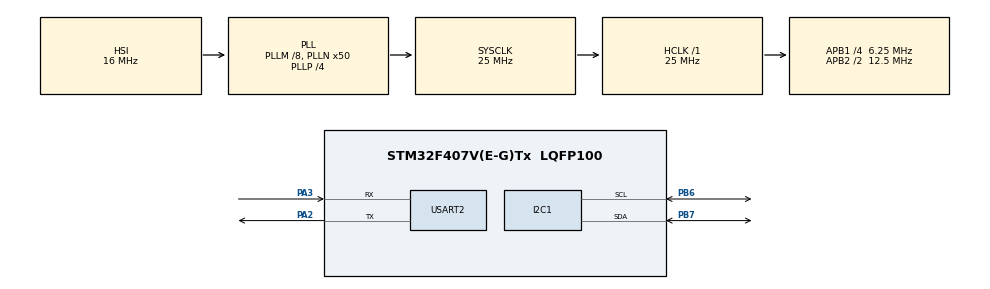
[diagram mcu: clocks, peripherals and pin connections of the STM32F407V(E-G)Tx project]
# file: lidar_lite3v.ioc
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Mcu.Family=STM32F4
Mcu.Name=STM32F407V(E-G)Tx
Mcu.Package=LQFP100
NVIC.PriorityGroup=NVIC_PRIORITYGROUP_0
PA2.Mode=Asynchronous
PA2.Signal=USART2_TX
PA3.Mode=Asynchronous
PA3.Signal=USART2_RX
PB6.Mode=I2C
PB6.Signal=I2C1_SCL
PB7.Mode=I2C
PB7.Signal=I2C1_SDA
PH0-OSC_IN.Mode=HSE-External-Oscillator
PH0-OSC_IN.Signal=RCC_OSC_IN
PH1-OSC_OUT.Mode=HSE-External-Oscillator
PH1-OSC_OUT.Signal=RCC_OSC_OUT
ProjectManager.HeapSize=0x200
ProjectManager.StackSize=0x400
ProjectManager.TargetToolchain=SW4STM32
RCC.48MHZClocksFreq_Value=14285714.285714285
RCC.AHBFreq_Value=25000000
RCC.APB1CLKDivider=RCC_HCLK_DIV4
RCC.APB1Freq_Value=6250000
RCC.APB1TimFreq_Value=12500000
RCC.APB2CLKDivider=RCC_HCLK_DIV2
RCC.APB2Freq_Value=12500000
RCC.APB2TimFreq_Value=25000000
RCC.CortexFreq_Value=25000000
RCC.HCLKFreq_Value=25000000
RCC.HSE_VALUE=8000000
RCC.HSI_VALUE=16000000
RCC.LSE_VALUE=32768
RCC.PLLM=8
RCC.PLLN=50
RCC.PLLP=RCC_PLLP_DIV4
RCC.PLLQ=7
RCC.SYSCLKFreq_VALUE=25000000
RCC.SYSCLKSource=RCC_SYSCLKSOURCE_PLLCLK
RCC.VCOOutputFreq_Value=100000000
USART2.VirtualMode=VM_ASYNC
board=STM32F4DISCOVERY

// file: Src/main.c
/* USER CODE BEGIN Header */
/**
 ******************************************************************************
 * @file           : main.c
 * @brief          : Main program body
 ******************************************************************************
 *  LIDAR LITE VER 3 WITH STM32F407 DISCOVERY
 *  It should work on STM32F407 and all other STM32Fxxx devices
 *
 *  @author     jagadish  jadhav
 *  @email      jagadish.etc@gmail.com
 *  @ide        System Workbence (eclipse)
 *

`* PIN DESCIPTION
 * i uesd the i2c1 interface of stm32 to communicate with lidar & uart 2 to send distace to monitor/screen
 * we can we any other i2c and uart. we just need to change respective handle type def.
 * CONNECTION:
 * 			STM32F407						LIDAR LITR V3
 * 				VCC								VCC
 * 				GND								GND
 * 			I2C1-PB6(SCL)						SCL
 * 			I2C1-PBA(SDA)						SDA
 * 				PA2-TX
 * 				PA3-RX
 ******************************************************************************
 */
/* USER CODE END Header */

#include "main.h"

/* USER CODE BEGIN PTD */
#define LIDAR_ADD 0x62<<1										// i2c slave address of lidar lite

uint32_t m_distance,object_distance;							// define the variable to get distance value
uint8_t cmd[1];
uint8_t data[2]={10};
char str[100];
/* USER CODE END PTD */
I2C_HandleTypeDef hi2c1;									// handle type def for i2c1

UART_HandleTypeDef huart2;									// handle type def for uart2

void SystemClock_Config(void);
static void MX_GPIO_Init(void);
static void MX_I2C1_Init(void);
static void MX_USART2_UART_Init(void);
int main(void)
{

	/* MCU Configuration--------------------------------------------------------*/

	/* Reset of all peripherals, Initializes the Flash interface and the Systick. */
	HAL_Init();

	/* Configure the system clock */
	SystemClock_Config();

	/* Initialize all configured peripherals */
	MX_GPIO_Init();
	MX_I2C1_Init();
	MX_USART2_UART_Init();

	/* USER CODE BEGIN 2 */
	configuration_set(4);    										// select any mode of operation of lidar i used mode 4
	/* USER CODE END 2 */

	/* Infinite loop */

	while (1)
	{
		/* USER CODE BEGIN 3 */
		object_distance = Get_distance();							// function give distance of detected object in cm

		sprintf(str,"%d\t cm\n\r", object_distance);				// send distance through uart
		HAL_UART_Transmit(&huart2,(uint8_t *)str,sizeof(str),10);
		HAL_Delay(50);												// 50ms delay
	}
	/* USER CODE END 3 */
}

void SystemClock_Config(void)
{
	RCC_OscInitTypeDef RCC_OscInitStruct = {0};
	RCC_ClkInitTypeDef RCC_ClkInitStruct = {0};

	/**Configure the main internal regulator output voltage
	 */
	__HAL_RCC_PWR_CLK_ENABLE();
	__HAL_PWR_VOLTAGESCALING_CONFIG(PWR_REGULATOR_VOLTAGE_SCALE1);
	/**Initializes the CPU, AHB and APB busses clocks
	 */
	RCC_OscInitStruct.OscillatorType = RCC_OSCILLATORTYPE_HSI;
	RCC_OscInitStruct.HSIState = RCC_HSI_ON;
	RCC_OscInitStruct.HSICalibrationValue = RCC_HSICALIBRATION_DEFAULT;
	RCC_OscInitStruct.PLL.PLLState = RCC_PLL_ON;
	RCC_OscInitStruct.PLL.PLLSource = RCC_PLLSOURCE_HSI;
	RCC_OscInitStruct.PLL.PLLM = 8;
	RCC_OscInitStruct.PLL.PLLN = 50;
	RCC_OscInitStruct.PLL.PLLP = RCC_PLLP_DIV4;
	RCC_OscInitStruct.PLL.PLLQ = 7;
	if (HAL_RCC_OscConfig(&RCC_OscInitStruct) != HAL_OK)
	{
		Error_Handler();
	}
	/**Initializes the CPU, AHB and APB busses clocks
	 */
	RCC_ClkInitStruct.ClockType = RCC_CLOCKTYPE_HCLK|RCC_CLOCKTYPE_SYSCLK
			|RCC_CLOCKTYPE_PCLK1|RCC_CLOCKTYPE_PCLK2;
	RCC_ClkInitStruct.SYSCLKSource = RCC_SYSCLKSOURCE_PLLCLK;
	RCC_ClkInitStruct.AHBCLKDivider = RCC_SYSCLK_DIV1;
	RCC_ClkInitStruct.APB1CLKDivider = RCC_HCLK_DIV4;
	RCC_ClkInitStruct.APB2CLKDivider = RCC_HCLK_DIV2;

	if (HAL_RCC_ClockConfig(&RCC_ClkInitStruct, FLASH_LATENCY_0) != HAL_OK)
	{
		Error_Handler();
	}
}

static void MX_I2C1_Init(void)
{

	hi2c1.Instance = I2C1;
	hi2c1.Init.ClockSpeed = 100000;
	hi2c1.Init.DutyCycle = I2C_DUTYCYCLE_2;
	hi2c1.Init.OwnAddress1 = 0;
	hi2c1.Init.AddressingMode = I2C_ADDRESSINGMODE_7BIT;
	hi2c1.Init.DualAddressMode = I2C_DUALADDRESS_DISABLE;
	hi2c1.Init.OwnAddress2 = 0;
	hi2c1.Init.GeneralCallMode = I2C_GENERALCALL_DISABLE;
	hi2c1.Init.NoStretchMode = I2C_NOSTRETCH_DISABLE;
	if (HAL_I2C_Init(&hi2c1) != HAL_OK)
	{
		Error_Handler();
	}

}

static void MX_USART2_UART_Init(void)
{

	huart2.Instance = USART2;
	huart2.Init.BaudRate = 115200;
	huart2.Init.WordLength = UART_WORDLENGTH_8B;
	huart2.Init.StopBits = UART_STOPBITS_1;
	huart2.Init.Parity = UART_PARITY_NONE;
	huart2.Init.Mode = UART_MODE_TX_RX;
	huart2.Init.HwFlowCtl = UART_HWCONTROL_NONE;
	huart2.Init.OverSampling = UART_OVERSAMPLING_16;
	if (HAL_UART_Init(&huart2) != HAL_OK)
	{
		Error_Handler();
	}

}

static void MX_GPIO_Init(void)
{

	/* GPIO Ports Clock Enable */
	__HAL_RCC_GPIOH_CLK_ENABLE();
	__HAL_RCC_GPIOA_CLK_ENABLE();
	__HAL_RCC_GPIOB_CLK_ENABLE();

}

/* USER CODE BEGIN 4 */
void configuration_set(int configur)      // configuration setting for lidar. it provide different mode of detection
{

	cmd[0] = 0x04;
	HAL_I2C_Mem_Write(&hi2c1,LIDAR_ADD ,0x00,1,cmd,1,0x100);
	switch(configur)
	{
	case 0://default mode , balance mode
		cmd[0]=0x80;
		HAL_I2C_Mem_Write(&hi2c1,LIDAR_ADD ,0x02,1,cmd,1,0x1000);
		cmd[0]=0x04;
		HAL_I2C_Mem_Write(&hi2c1,LIDAR_ADD ,0x04,1,cmd,1,0x1000);
		cmd[0]=0x00;
		HAL_I2C_Mem_Write(&hi2c1,LIDAR_ADD ,0x1c,1,cmd,1,0x1000);
		break;

	case 1://short range, high speed
		cmd[0]=0x1d;
		HAL_I2C_Mem_Write(&hi2c1,LIDAR_ADD ,0x02,1,cmd,1,0x1000);
		cmd[0]=0x08;
		HAL_I2C_Mem_Write(&hi2c1,LIDAR_ADD ,0x04,1,cmd,1,0x1000);
		cmd[0]=0x00;
		HAL_I2C_Mem_Write(&hi2c1,LIDAR_ADD ,0x1c,1,cmd,1,0x1000);
		break;

	case 2://default range, higher speed short range
		cmd[0]=0x80;
		HAL_I2C_Mem_Write(&hi2c1,LIDAR_ADD ,0x02,1,cmd,1,0x1000);
		cmd[0]=0x08;
		HAL_I2C_Mem_Write(&hi2c1,LIDAR_ADD ,0x04,1,cmd,1,0x1000);
		cmd[0]=0x00;
		HAL_I2C_Mem_Write(&hi2c1,LIDAR_ADD ,0x1c,1,cmd,1,0x1000);
		break;

	case 3://maximum Range
		cmd[0]=0xff;
		HAL_I2C_Mem_Write(&hi2c1,LIDAR_ADD ,0x02,1,cmd,1,0x1000);
		cmd[0]=0x08;
		HAL_I2C_Mem_Write(&hi2c1,LIDAR_ADD ,0x04,1,cmd,1,0x1000);
		cmd[0]=0x00;
		HAL_I2C_Mem_Write(&hi2c1,LIDAR_ADD ,0x1c,1,cmd,1,0x1000);
		break;

	case 4://high sensitivity detection, high  measurement
		cmd[0]=0x80;
		HAL_I2C_Mem_Write(&hi2c1,LIDAR_ADD ,0x02,1,cmd,1,0x1000);
		cmd[0]=0x08;
		HAL_I2C_Mem_Write(&hi2c1,LIDAR_ADD ,0x04,1,cmd,1,0x1000);
		cmd[0]=0x80;
		HAL_I2C_Mem_Write(&hi2c1,LIDAR_ADD ,0x1c,1,cmd,1,0x1000);
		break;

	case 5://low sensitivity detection , low  measurement
		cmd[0]=0x80;
		HAL_I2C_Mem_Write(&hi2c1,LIDAR_ADD ,0x02,1,cmd,1,0x1000);
		cmd[0]=0x08;
		HAL_I2C_Mem_Write(&hi2c1,LIDAR_ADD ,0x04,1,cmd,1,0x1000);
		cmd[0]=0xb0;
		HAL_I2C_Mem_Write(&hi2c1,LIDAR_ADD ,0x1c,1,cmd,1,0x1000);
		break;
	}
}

/* USER CODE END 4 */
int Get_distance()     // function to get distance
{
	cmd[0]=0x04;
	HAL_I2C_Mem_Write(&hi2c1,LIDAR_ADD ,0x00,1,cmd,1,100);
	cmd[0]=0x8f;
	HAL_I2C_Master_Transmit(&hi2c1,LIDAR_ADD,cmd,1,100);
	HAL_I2C_Master_Receive(&hi2c1,LIDAR_ADD,data,2,100);
	m_distance = (data[0]<<8)|(data[1]);
	return m_distance ;
}

void Error_Handler(void)
{
}

/************************ (C) COPYRIGHT STMicroelectronics *****END OF FILE****/
